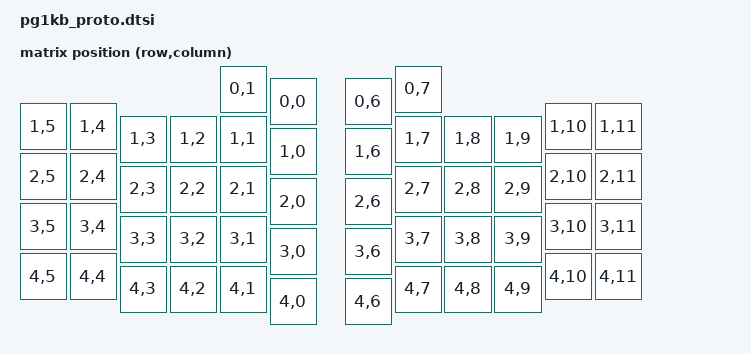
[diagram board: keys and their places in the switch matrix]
#include <dt-bindings/zmk/matrix_transform.h>
#include <physical_layouts.dtsi>
#include <zephyr/dt-bindings/input/input-event-codes.h>

/ {
    chosen {
        zmk,kscan = &kscan0;
        zmk,physical-layout = &pg1kb_proto_physical_layout;
    };

    splits {
        #address-cells = <1>;
        #size-cells = <0>;

        left_trackball_input: left_trackball_input@0 {
            compatible = "zmk,input-split";
            reg = <0>;
        };
    };

    left_trackball_listener: left_trackball_listener {
        compatible = "zmk,input-listener";
        status = "disabled";
        device = <&left_trackball_input>;
    };

    right_trackball_listener: right_trackball_listener {
        compatible = "zmk,input-listener";
        status = "disabled";
        device = <&trackball>;
    };

    /*
     * scroll-inertia は split peripheral ではコンパイルできない central 専用プロセッサ。
     * ただし keymap は左右共通で読むため、左手ビルドでも &scroll_inertia_* のラベル自体は
     * 解決できる必要がある。ここでは disabled で共有定義し、右手 overlay だけで okay にする。
     *
     * axis = <0> は両軸フリー。現在の zip_xy_to_scroll_mapper は縦横同時の 2D スクロールを
     * 流すため、軸ロックはかけない。
     *
     * 左ボール Base は専用スクロールレイヤーではなく listener のデフォルトチェーンなので、
     * layer は省略して -1 相当とする。このため Base でフリック直後に Sym へ切り替えると、
     * 慣性は gesture-timeout / 自然減衰 / span で止まるまで流れ続ける。
     *
     * stop は README の式「出力頻度(Hz) ≒ stop * scale * 125 / scale-div」から、
     * スムーススクロール時の 16 単位 = 1 ノッチ換算で切れ際が約 3.9 ノッチ/s に揃う値。
     * デフォルト stop = 7 では 1/2 チェーンで約 13.7 ノッチ/s になり、手前で止まりすぎる。
     *
     * 発動条件（start / move / min-events）はデフォルトだと強めに弾かないと慣性が
     * 乗らなかったので下げている。3 ノードとも zip_xy_to_scroll_mapper の直後で
     * スケール前の生の値を見るため、しきい値は共通で問題ない。
     *   start      40 →  25  ピーク速度のしきい値（弾く強さ）
     *   move       80 →  50  ジェスチャー内の累積移動量（振り幅）
     *   min-events 10 →   6  アームに必要なイベント数。125Hz なので 10 だと 80ms 以上
     *                        ボールを回し続ける必要があり、短いフリックが弾かれていた
     * 逆に軽く触っただけで慣性が乗るようなら、この 3 つを戻す方向に上げる。
     */
    scroll_inertia_left_base: scroll_inertia_left_base {
        compatible = "zmk,input-processor-scroll-inertia";
        #input-processor-cells = <0>;
        status = "disabled";
        axis = <0>;
        scale = <1>;
        scale-div = <2>;
        stop = <2>;
        start = <25>;
        move = <50>;
        min-events = <6>;
    };

    scroll_inertia_left_sym: scroll_inertia_left_sym {
        compatible = "zmk,input-processor-scroll-inertia";
        #input-processor-cells = <0>;
        status = "disabled";
        axis = <0>;
        layer = <2>;
        scale = <1>;
        scale-div = <6>;
        stop = <3>;
        start = <25>;
        move = <50>;
        min-events = <6>;
    };

    scroll_inertia_right_sym: scroll_inertia_right_sym {
        compatible = "zmk,input-processor-scroll-inertia";
        #input-processor-cells = <0>;
        status = "disabled";
        axis = <0>;
        layer = <2>;
        scale = <1>;
        scale-div = <2>;
        stop = <2>;
        start = <25>;
        move = <50>;
        min-events = <6>;
    };

    /*
     * DYA Studio からカーソル感度を変えるための runtime input processor。
     *
     * scroll_inertia と同じ流儀で、ここでは status = "disabled" の共有定義だけを置き、
     * pg1kb_proto_right.overlay でのみ okay にする。左手ビルドでは listener 自体が
     * disabled なのでインスタンス化されない（このドライバも DT_INST_FOREACH_STATUS_OKAY）。
     *
     * 既存の zip_xy_scaler の後段に置き、初期値は 1/1 倍。つまり書き込み直後の操作感は
     * 従来と変わらず、Web から掛けた倍率が「そのボールのカーソル感度」として上乗せされる。
     * 減速したときの情報損失を減らすため、固定スケーラで拡大した後に置いている
     * （余りは track-remainders で繰り越される）。
     *
     * 右ボールは Base と Num で同じノードを共有する。Web 上は「右ボールの感度」という
     * 1 つのつまみになり、レイヤー間の 3/2 : 1/2 という比率は devicetree 側で保たれる。
     *
     * processor-label は BLE 互換のため 8 文字までという制限がある。
     */
    rip_left_cursor: rip_left_cursor {
        compatible = "zmk,input-processor-runtime";
        status = "disabled";
        processor-label = "L-Ball";
        type = <INPUT_EV_REL>;
        x-codes = <INPUT_REL_X>;
        y-codes = <INPUT_REL_Y>;
        scale-multiplier = <1>;
        scale-divisor = <1>;
        track-remainders;
        #input-processor-cells = <0>;
    };

    rip_right_cursor: rip_right_cursor {
        compatible = "zmk,input-processor-runtime";
        status = "disabled";
        processor-label = "R-Ball";
        type = <INPUT_EV_REL>;
        x-codes = <INPUT_REL_X>;
        y-codes = <INPUT_REL_Y>;
        scale-multiplier = <1>;
        scale-divisor = <1>;
        track-remainders;
        #input-processor-cells = <0>;
    };

    pg1kb_proto_physical_layout: physical_layout_0 {
        compatible = "zmk,physical-layout";
        display-name = "Default 5x12 Split Layout";
        kscan = <&kscan0>;
        transform = <&default_transform>;

        keys  //                     w   h    x    y     rot    rx    ry
            = <&key_physical_attrs 100 100    0   75       0     0     0>
            , <&key_physical_attrs 100 100  100   75       0     0     0>
            , <&key_physical_attrs 100 100  400    0       0     0     0>
            , <&key_physical_attrs 100 100  500   25       0     0     0>
            , <&key_physical_attrs 100 100  650   25       0     0     0>
            , <&key_physical_attrs 100 100  750    0       0     0     0>
            , <&key_physical_attrs 100 100 1050   75       0     0     0>
            , <&key_physical_attrs 100 100 1150   75       0     0     0>
            , <&key_physical_attrs 100 100    0  175       0     0     0>
            , <&key_physical_attrs 100 100  100  175       0     0     0>
            , <&key_physical_attrs 100 100  200  100       0     0     0>
            , <&key_physical_attrs 100 100  300  100       0     0     0>
            , <&key_physical_attrs 100 100  400  100       0     0     0>
            , <&key_physical_attrs 100 100  500  125       0     0     0>
            , <&key_physical_attrs 100 100  650  125       0     0     0>
            , <&key_physical_attrs 100 100  750  100       0     0     0>
            , <&key_physical_attrs 100 100  850  100       0     0     0>
            , <&key_physical_attrs 100 100  950  100       0     0     0>
            , <&key_physical_attrs 100 100 1050  175       0     0     0>
            , <&key_physical_attrs 100 100 1150  175       0     0     0>
            , <&key_physical_attrs 100 100    0  275       0     0     0>
            , <&key_physical_attrs 100 100  100  275       0     0     0>
            , <&key_physical_attrs 100 100  200  200       0     0     0>
            , <&key_physical_attrs 100 100  300  200       0     0     0>
            , <&key_physical_attrs 100 100  400  200       0     0     0>
            , <&key_physical_attrs 100 100  500  225       0     0     0>
            , <&key_physical_attrs 100 100  650  225       0     0     0>
            , <&key_physical_attrs 100 100  750  200       0     0     0>
            , <&key_physical_attrs 100 100  850  200       0     0     0>
            , <&key_physical_attrs 100 100  950  200       0     0     0>
            , <&key_physical_attrs 100 100 1050  275       0     0     0>
            , <&key_physical_attrs 100 100 1150  275       0     0     0>
            , <&key_physical_attrs 100 100    0  375       0     0     0>
            , <&key_physical_attrs 100 100  100  375       0     0     0>
            , <&key_physical_attrs 100 100  200  300       0     0     0>
            , <&key_physical_attrs 100 100  300  300       0     0     0>
            , <&key_physical_attrs 100 100  400  300       0     0     0>
            , <&key_physical_attrs 100 100  500  325       0     0     0>
            , <&key_physical_attrs 100 100  650  325       0     0     0>
            , <&key_physical_attrs 100 100  750  300       0     0     0>
            , <&key_physical_attrs 100 100  850  300       0     0     0>
            , <&key_physical_attrs 100 100  950  300       0     0     0>
            , <&key_physical_attrs 100 100 1050  375       0     0     0>
            , <&key_physical_attrs 100 100 1150  375       0     0     0>
            , <&key_physical_attrs 100 100  200  400       0     0     0>
            , <&key_physical_attrs 100 100  300  400       0     0     0>
            , <&key_physical_attrs 100 100  400  400       0     0     0>
            , <&key_physical_attrs 100 100  500  425       0     0     0>
            , <&key_physical_attrs 100 100  650  425       0     0     0>
            , <&key_physical_attrs 100 100  750  400       0     0     0>
            , <&key_physical_attrs 100 100  850  400       0     0     0>
            , <&key_physical_attrs 100 100  950  400       0     0     0>
            ;
    };

    /*
     * DYA Studio のプレビューに左右のボールを描くための定義。
     * 座標と大きさは上の physical layout の keys と同じ単位（100 = 1u）。
     * 実機を DYA Studio に繋いだプレビューを見ながら調整する前提の暫定値。
     *
     * linked-* は index を揃えた必須プロパティで、そのボールがどの Custom Studio
     * Protocol のデバイスに対応するかを Studio へ伝える。この機体のセンサーは
     * PAW3222 で専用の RPC を持たないため、感度を持っている runtime input
     * processor（サブシステム識別子 cormoran_rip、デバイス識別子は processor-label）
     * を指している。
     */
    pg1kb_proto_left_ball: pg1kb_proto_left_ball {
        compatible = "cormoran,physical-layout-trackball";
        display-name = "Left Ball";
        size = <120>;
        x = <100>;
        y = <475>;
        linked-device-identifiers = "L-Ball";
        linked-subsystems = "cormoran_rip";
    };

    pg1kb_proto_right_ball: pg1kb_proto_right_ball {
        compatible = "cormoran,physical-layout-trackball";
        display-name = "Right Ball";
        size = <120>;
        x = <1050>;
        y = <475>;
        linked-device-identifiers = "R-Ball";
        linked-subsystems = "cormoran_rip";
    };

    default_transform: keymap_transform_0 {
        compatible = "zmk,matrix-transform";
        columns = <12>;
        rows = <5>;
        map = <
            RC(1,5) RC(1,4)                 RC(0,1) RC(0,0)         RC(0,6) RC(0,7)                 RC(1,10) RC(1,11)
            RC(2,5) RC(2,4) RC(1,3) RC(1,2) RC(1,1) RC(1,0)         RC(1,6) RC(1,7) RC(1,8) RC(1,9) RC(2,10) RC(2,11)
            RC(3,5) RC(3,4) RC(2,3) RC(2,2) RC(2,1) RC(2,0)         RC(2,6) RC(2,7) RC(2,8) RC(2,9) RC(3,10) RC(3,11)
            RC(4,5) RC(4,4) RC(3,3) RC(3,2) RC(3,1) RC(3,0)         RC(3,6) RC(3,7) RC(3,8) RC(3,9) RC(4,10) RC(4,11)
                            RC(4,3) RC(4,2) RC(4,1) RC(4,0)         RC(4,6) RC(4,7) RC(4,8) RC(4,9)
        >;
    };

    kscan0: kscan {
        compatible = "zmk,kscan-gpio-matrix";
        diode-direction = "col2row";
        wakeup-source;
        debounce-press-ms = <5>;
        debounce-release-ms = <5>;
    };
};

&spi0 {
    trackball: trackball@0 {
        status = "disabled";
        reg = <0>;
        spi-max-frequency = <2000000>;
    };
};
